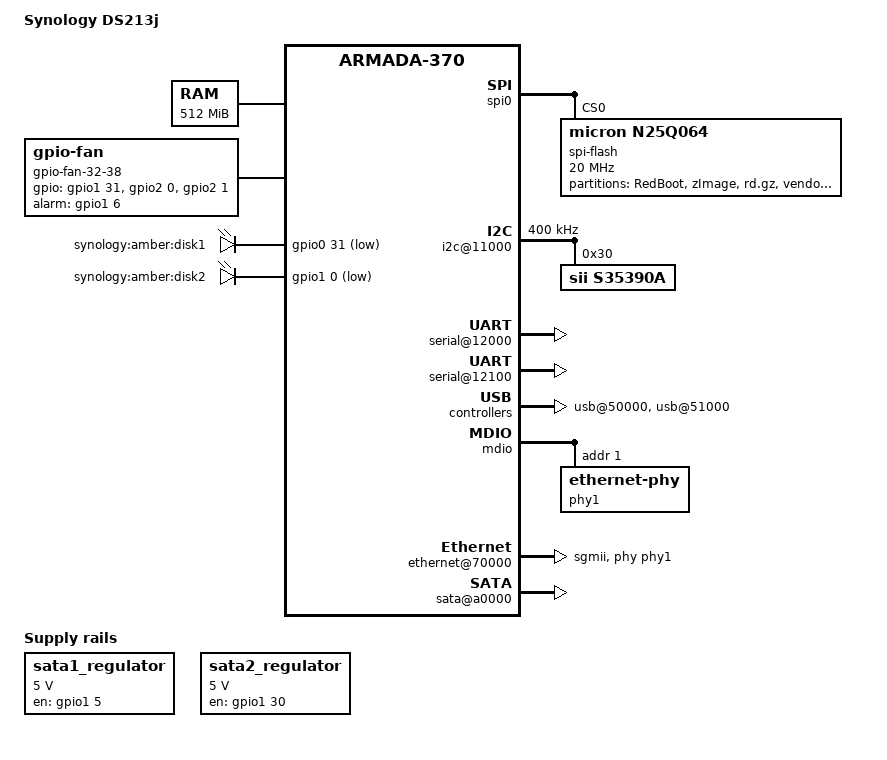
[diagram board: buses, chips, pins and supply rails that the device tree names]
/*
 * Device Tree file for Synology DS213j
 *
 * Copyright (C) 2014, Arnaud EBALARD <arno@natisbad.org>
 *
 * This file is dual-licensed: you can use it either under the terms
 * of the GPL or the X11 license, at your option. Note that this dual
 * licensing only applies to this file, and not this project as a
 * whole.
 *
 *  a) This file is free software; you can redistribute it and/or
 *     modify it under the terms of the GNU General Public License as
 *     published by the Free Software Foundation; either version 2 of the
 *     License, or (at your option) any later version.
 *
 *     This file is distributed in the hope that it will be useful
 *     but WITHOUT ANY WARRANTY; without even the implied warranty of
 *     MERCHANTABILITY or FITNESS FOR A PARTICULAR PURPOSE.  See the
 *     GNU General Public License for more details.
 *
 * Or, alternatively
 *
 *  b) Permission is hereby granted, free of charge, to any person
 *     obtaining a copy of this software and associated documentation
 *     files (the "Software"), to deal in the Software without
 *     restriction, including without limitation the rights to use
 *     copy, modify, merge, publish, distribute, sublicense, and/or
 *     sell copies of the Software, and to permit persons to whom the
 *     Software is furnished to do so, subject to the following
 *     conditions:
 *
 *     The above copyright notice and this permission notice shall be
 *     included in all copies or substantial portions of the Software.
 *
 *     THE SOFTWARE IS PROVIDED , WITHOUT WARRANTY OF ANY KIND
 *     EXPRESS OR IMPLIED, INCLUDING BUT NOT LIMITED TO THE WARRANTIES
 *     OF MERCHANTABILITY, FITNESS FOR A PARTICULAR PURPOSE AND
 *     NONINFRINGEMENT. IN NO EVENT SHALL THE AUTHORS OR COPYRIGHT
 *     HOLDERS BE LIABLE FOR ANY CLAIM, DAMAGES OR OTHER LIABILITY
 *     WHETHER IN AN ACTION OF CONTRACT, TORT OR OTHERWISE, ARISING
 *     FROM, OUT OF OR IN CONNECTION WITH THE SOFTWARE OR THE USE OR
 *     OTHER DEALINGS IN THE SOFTWARE.
 *
 * Note: this Device Tree assumes that the bootloader has remapped the
 * internal registers to 0xf1000000 (instead of the old 0xd0000000).
 * The 0xf1000000 is the default used by the recent, DT-capable, U-Boot
 * bootloaders provided by Marvell. It is used in recent versions of
 * DSM software provided by Synology. Nonetheless, some earlier boards
 * were delivered with an older version of u-boot that left internal
 * registers mapped at 0xd0000000. If you have such a device you will
 * not be able to directly boot a kernel based on this Device Tree. In
 * that case, the preferred solution is to update your bootloader (e.g.
 * by upgrading to latest version of DSM, or building a new one and
 * installing it from u-boot prompt) or adjust the Devive Tree
 * (s/0xf1000000/0xd0000000/ in 'ranges' below).
 */

/dts-v1/;

#include <dt-bindings/input/input.h>
#include <dt-bindings/gpio/gpio.h>
#include "armada-370.dtsi"

/ {
	model = "Synology DS213j";
	compatible = "synology,ds213j", "marvell,armada370",
		     "marvell,armada-370-xp";

	chosen {
		stdout-path = "serial0:115200n8";
	};

	memory {
		device_type = "memory";
		reg = <0x00000000 0x20000000>; /* 512 MB */
	};

	soc {
		ranges = <MBUS_ID(0xf0, 0x01) 0 0xf1000000 0x100000
			  MBUS_ID(0x01, 0xe0) 0 0xfff00000 0x100000
			  MBUS_ID(0x09, 0x01) 0 0xf1100000 0x10000>;

		internal-regs {

			/* RTC provided by Seiko S-35390A I2C RTC chip below */
			rtc@10300 {
				status = "disabled";
			};

			spi0: spi@10600 {
				status = "okay";

				spi-flash@0 {
					#address-cells = <1>;
					#size-cells = <1>;
					compatible = "micron,n25q064", "jedec,spi-nor";
					reg = <0>; /* Chip select 0 */
					spi-max-frequency = <20000000>;

					/*
					 * Warning!
					 *
					 * Synology u-boot uses its compiled-in environment
					 * and it seems Synology did not care to change u-boot
					 * default configuration in order to allow saving a
					 * modified environment at a sensible location. So,
					 * if you do a 'saveenv' under u-boot, your modified
					 * environment will be saved at 1MB after the start
					 * of the flash, i.e. in the middle of the uImage.
					 * For that reason, it is strongly advised not to
					 * change the default environment, unless you know
					 * what you are doing.
					 */
					partition@00000000 { /* u-boot */
						label = "RedBoot";
						reg = <0x00000000 0x000c0000>; /* 768KB */
					};

					partition@000c0000 { /* uImage */
						label = "zImage";
						reg = <0x000c0000 0x002d0000>; /* 2880KB */
					};

					partition@00390000 { /* uInitramfs */
						label = "rd.gz";
						reg = <0x00390000 0x00440000>; /* 4250KB */
					};

					partition@007d0000 { /* MAC address and serial number */
						label = "vendor";
						reg = <0x007d0000 0x00010000>; /* 64KB */
					};

					partition@007e0000 {
						label = "RedBoot config";
						reg = <0x007e0000 0x00010000>; /* 64KB */
					};

					partition@007f0000 {
						label = "FIS directory";
						reg = <0x007f0000 0x00010000>; /* 64KB */
					};
				};
			};

			i2c@11000 {
				compatible = "marvell,mv64xxx-i2c";
				pinctrl-0 = <&i2c0_pins>;
				pinctrl-names = "default";
				clock-frequency = <400000>;
				status = "okay";

				/* Main device RTC chip */
				s35390a: s35390a@30 {
					 compatible = "sii,s35390a";
					 reg = <0x30>;
				};
			};

			/* Connected to a header on device's PCB */
			serial@12000 {
				status = "okay";
			};

			/* Connected to a TI MSP430F2111 for power control */
			serial@12100 {
				status = "okay";
			};

			poweroff@12100 {
				compatible = "synology,power-off";
				reg = <0x12100 0x100>;
				clocks = <&coreclk 0>;
			};

			/* rear USB port, near reset button */
			usb@50000 {
				status = "okay";
			};

			/* rear USB port, near RJ45 port */
			usb@51000 {
				status = "okay";
			};

			mdio {
				phy1: ethernet-phy@1 { /* Marvell 88E1512 */
					reg = <1>;
				};
			};

			ethernet@70000 {
			       status = "okay";
			       phy = <&phy1>;
			       phy-mode = "sgmii";
			};

			sata@a0000 {
				nr-ports = <2>;
				status = "okay";
			};
		};
	};

	gpio-fan-32-38 {
		status = "okay";
		compatible = "gpio-fan";
		pinctrl-0 = <&fan_ctrl_low_pin &fan_ctrl_mid_pin
			     &fan_ctrl_high_pin &fan_alarm_pin>;
		pinctrl-names = "default";
		gpios = <&gpio1 31 GPIO_ACTIVE_HIGH
			 &gpio2  0 GPIO_ACTIVE_HIGH
			 &gpio2  1 GPIO_ACTIVE_HIGH>;
		alarm-gpios = <&gpio1 6 GPIO_ACTIVE_HIGH>;
		gpio-fan,speed-map = <    0 0
				       1000 1
				       1150 2
				       1350 4
				       1500 3
				       1650 5
				       1750 6
				       1900 7 >;
	};

	gpio-leds {
		compatible = "gpio-leds";
		pinctrl-0 = <&disk1_led_pin
			     &disk2_led_pin>;
		pinctrl-names = "default";

		disk1-led-amber {
			label = "synology:amber:disk1";
			gpios = <&gpio0 31 GPIO_ACTIVE_LOW>;
			default-state = "keep";
		};

		disk2-led-amber {
			label = "synology:amber:disk2";
			gpios = <&gpio1 0 GPIO_ACTIVE_LOW>;
			default-state = "keep";
		};
	};

	regulators {
		compatible = "simple-bus";
		#address-cells = <1>;
		#size-cells = <0>;
		pinctrl-0 = <&sata1_pwr_pin &sata2_pwr_pin>;
		pinctrl-names = "default";

		sata1_regulator: sata1-regulator {
			compatible = "regulator-fixed";
			reg = <1>;
			regulator-name = "SATA1 Power";
			regulator-min-microvolt = <5000000>;
			regulator-max-microvolt = <5000000>;
			startup-delay-us = <2000000>;
			enable-active-high;
			regulator-always-on;
			regulator-boot-on;
			gpio = <&gpio1 5 GPIO_ACTIVE_HIGH>;
		};

		sata2_regulator: sata2-regulator {
			compatible = "regulator-fixed";
			reg = <2>;
			regulator-name = "SATA2 Power";
			regulator-min-microvolt = <5000000>;
			regulator-max-microvolt = <5000000>;
			startup-delay-us = <4000000>;
			enable-active-high;
			regulator-always-on;
			regulator-boot-on;
			gpio = <&gpio1 30 GPIO_ACTIVE_HIGH>;
		};
	};
};

&pinctrl {
	disk1_led_pin: disk1-led-pin {
		marvell,pins = "mpp31";
		marvell,function = "gpio";
	};

	disk2_led_pin: disk2-led-pin {
		marvell,pins = "mpp32";
		marvell,function = "gpio";
	};

	sata1_pwr_pin: sata1-pwr-pin {
		marvell,pins = "mpp37";
		marvell,function = "gpio";
	};

	sata2_pwr_pin: sata2-pwr-pin {
		marvell,pins = "mpp62";
		marvell,function = "gpio";
	};

	sata1_pres_pin: sata1-pres-pin {
		marvell,pins = "mpp60";
		marvell,function = "gpio";
	};

	sata2_pres_pin: sata2-pres-pin {
		marvell,pins = "mpp48";
		marvell,function = "gpio";
	};

	syno_id_bit0_pin: syno-id-bit0-pin {
		marvell,pins = "mpp55";
		marvell,function = "gpio";
	};

	syno_id_bit1_pin: syno-id-bit1-pin {
		marvell,pins = "mpp56";
		marvell,function = "gpio";
	};

	syno_id_bit2_pin: syno-id-bit2-pin {
		marvell,pins = "mpp57";
		marvell,function = "gpio";
	};

	syno_id_bit3_pin: syno-id-bit3-pin {
		marvell,pins = "mpp58";
		marvell,function = "gpio";
	};

	fan_ctrl_low_pin: fan-ctrl-low-pin {
		marvell,pins = "mpp65";
		marvell,function = "gpio";
	};

	fan_ctrl_mid_pin: fan-ctrl-mid-pin {
		marvell,pins = "mpp64";
		marvell,function = "gpio";
	};

	fan_ctrl_high_pin: fan-ctrl-high-pin {
		marvell,pins = "mpp63";
		marvell,function = "gpio";
	};

	fan_alarm_pin: fan-alarm-pin {
		marvell,pins = "mpp38";
		marvell,function = "gpio";
	};
};
